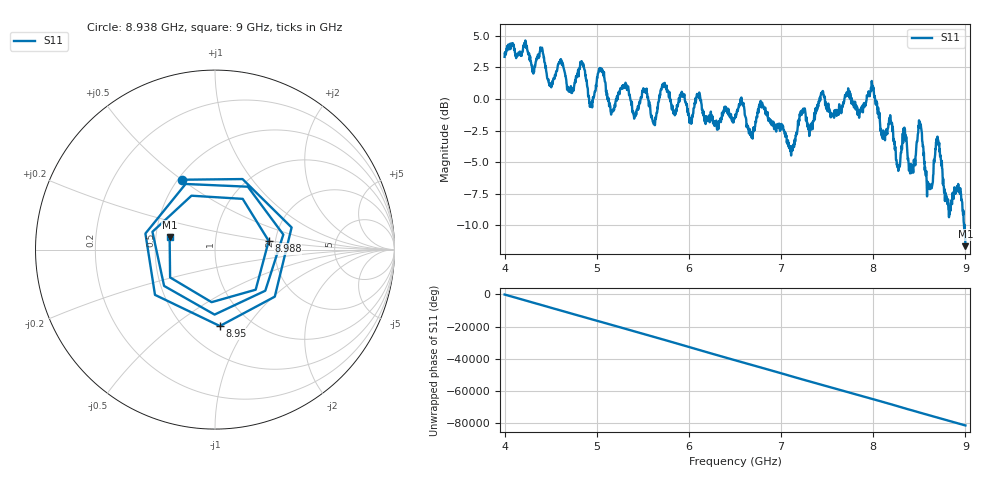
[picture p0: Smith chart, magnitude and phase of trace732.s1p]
! Created with skrf 1.8.0 (http://scikit-rf.org).
# Hz S RI R 50.0
!freq ReS11 ImS11
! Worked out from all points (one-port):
!   1601 points, 4 GHz to 9 GHz, reference 50 ohm
!   lowest |S11| = -11.6 dB at 9 GHz (marker M1), VSWR 1.71, Z = 29.6 + j4.38 ohm
!   |S11| at or under -10 dB: 8.985209 GHz to 8.990602 GHz (5.393 MHz wide, 0.06 % of centre); 8.991239 GHz to end of sweep
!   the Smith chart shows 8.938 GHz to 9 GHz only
!   S11 on the Smith chart (normalised r, x): 8.938 GHz: 0.52, +0.50; 8.95 GHz: 0.73, -0.76; 8.988 GHz: 1.84, +0.20; 9 GHz: 0.59, +0.09
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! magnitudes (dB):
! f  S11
! 4 GHz  3.3
! 4.625 GHz  2.7
! 4.719 GHz  1.0
! 4.847 GHz  2.8
! 4.931 GHz  -0.3
! 5.041 GHz  2.3
! 5.159 GHz  -1.0
! 5.25 GHz  0.6
! 5.875 GHz  -0.5
! 6.5 GHz  -1.5
! 6.691 GHz  -3.1
! 6.791 GHz  -0.3
! 7.125 GHz  -4.1
! 7.234 GHz  -1.0
! 7.75 GHz  0.4
! 7.991 GHz  0.9
! 8.269 GHz  -5.3
! 8.334 GHz  -2.6
! 8.375 GHz  -4.8
! 8.438 GHz  -5.3
! 8.506 GHz  -1.8
! 8.603 GHz  -7.0
! 8.697 GHz  -3.0
! 8.812 GHz  -7.9
! 8.938 GHz  -7.3
! 8.95 GHz  -7.4
! 8.988 GHz  -10.4
! 9 GHz  -11.6
